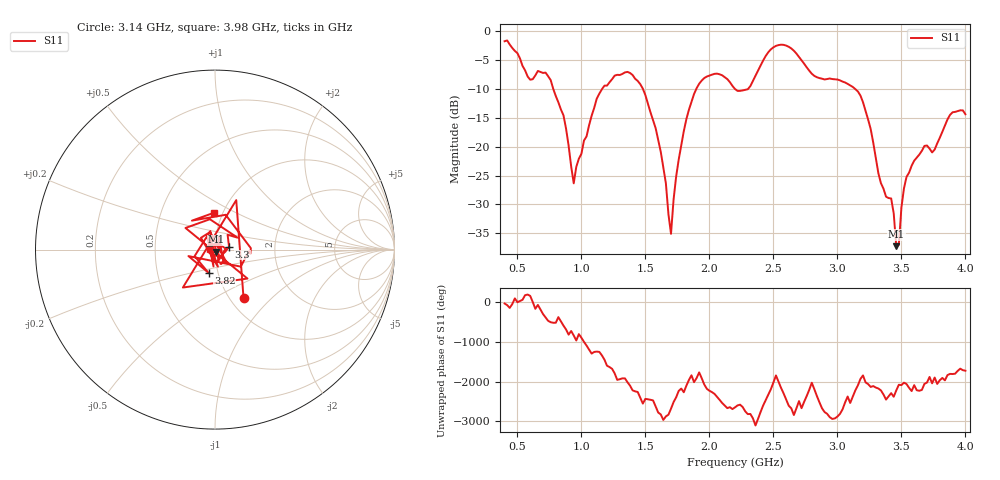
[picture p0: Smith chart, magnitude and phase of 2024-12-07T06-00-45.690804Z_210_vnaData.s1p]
!Created with skrf (http://scikit-rf.org).
# Hz S RI R 50.0
!freq ReS11 ImS11
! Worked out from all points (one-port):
!   181 points, 400 MHz to 4 GHz, reference 50 ohm
!   lowest |S11| = -37.2 dB at 3.46 GHz (marker M1), VSWR 1.03, Z = 50.7 - j1.21 ohm
!   |S11| at or under -10 dB: 779.9 MHz to 1.162 GHz (382.3 MHz wide, 39.4 % of centre); 1.481 GHz to 1.898 GHz (417.2 MHz wide, 24.7 % of centre); 3.138 GHz to end of sweep (the widest 3 of 4)
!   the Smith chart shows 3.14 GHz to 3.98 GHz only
!   S11 on the Smith chart (normalised r, x): 3.14 GHz: 1.15, -0.70; 3.3 GHz: 1.17, +0.04; 3.82 GHz: 0.90, -0.24; 3.98 GHz: 0.91, +0.39
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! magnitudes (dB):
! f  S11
! 400 MHz  -1.8
! 600 MHz  -8.4
! 720 MHz  -7.2
! 860 MHz  -14.6
! 940 MHz  -26.4
! 1.12 GHz  -11.7
! 1.3 GHz  -7.6
! 1.5 GHz  -11.1
! 1.62 GHz  -20.9
! 1.7 GHz  -35.1
! 1.76 GHz  -22.3
! 1.92 GHz  -9.1
! 2.06 GHz  -7.4
! 2.2 GHz  -10.0
! 2.3 GHz  -10.1
! 2.5 GHz  -2.8
! 2.66 GHz  -3.4
! 3.1 GHz  -9.4
! 3.14 GHz  -10.0
! 3.3 GHz  -21.9
! 3.42 GHz  -29.0
! 3.46 GHz  -37.2
! 3.48 GHz  -37.0
! 3.52 GHz  -27.2
! 3.56 GHz  -24.5
! 3.82 GHz  -17.4
! 3.98 GHz  -13.7
! 4 GHz  -14.4
